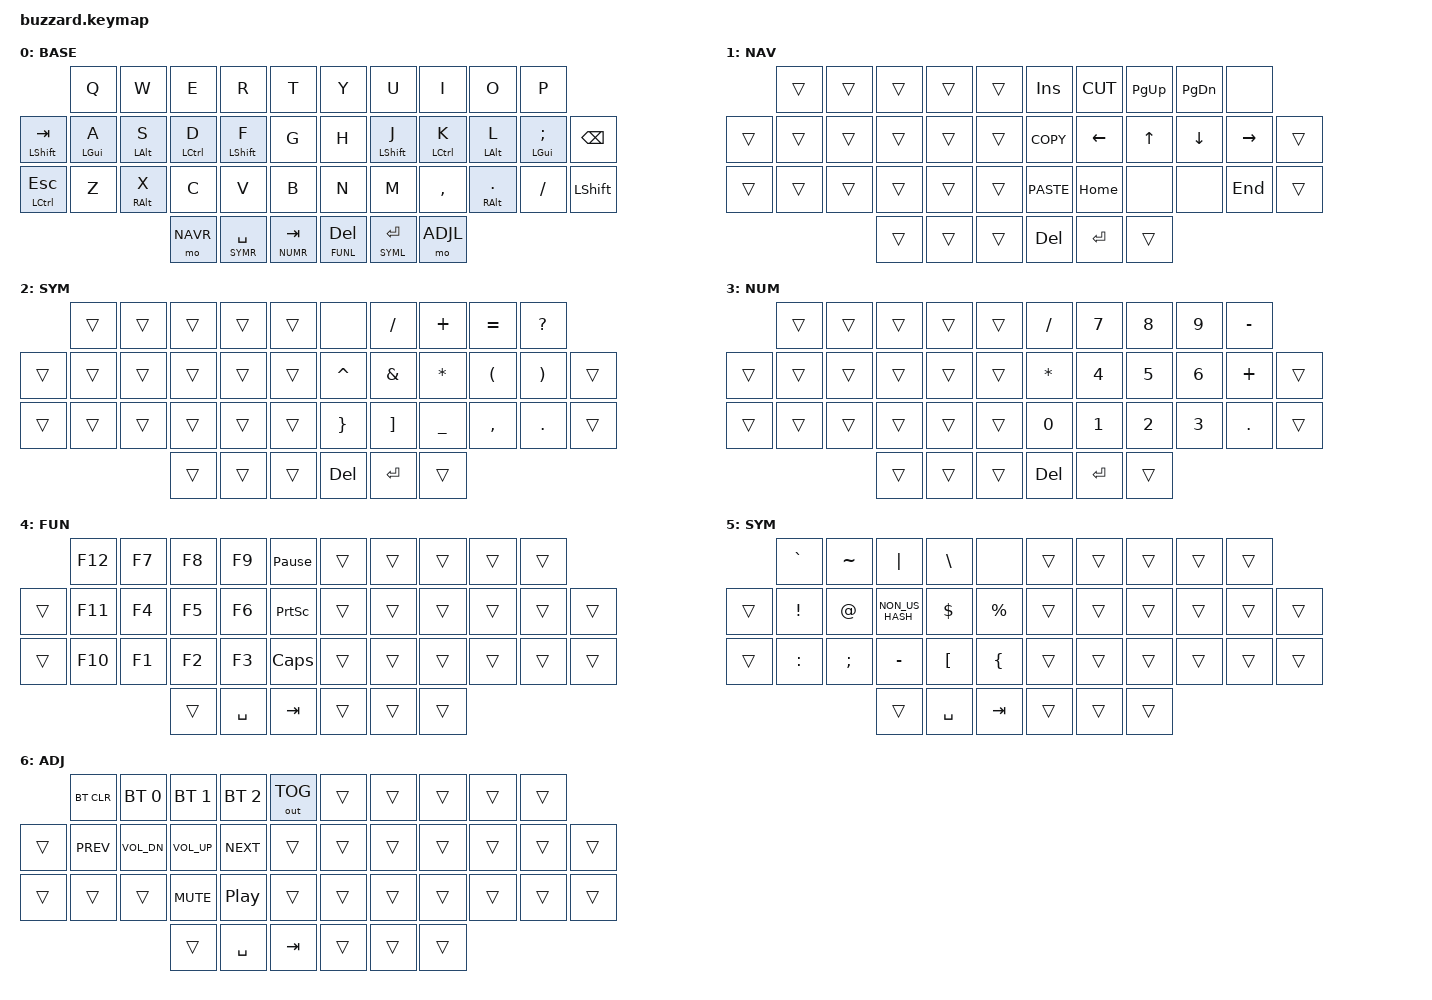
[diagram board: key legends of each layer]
/*
 * Copyright (c) 2021 The ZMK Contributors
 *
 * SPDX-License-Identifier: MIT
 */

#include <behaviors.dtsi>
#include <dt-bindings/zmk/keys.h>
#include <dt-bindings/zmk/bt.h>
#include <dt-bindings/zmk/ext_power.h>
#include <dt-bindings/zmk/outputs.h>

#define BASE   0
#define NAVR   1
#define SYMR   2
#define NUMR   3
#define FUNL   4
#define SYML   5
#define ADJL   6

/ {
	behaviors {
        hm: homerow_mods {
            compatible = "zmk,behavior-hold-tap";
            label = "HOMEROW_MODS";
            #binding-cells = <2>;
            tapping-term-ms = <280>;
            quick_tap_ms = <0>;
            flavor = "tap-preferred";
            bindings = <&kp>, <&kp>;
        };
    };
    keymap {
        compatible = "zmk,keymap";

        base {
            label = "BASE";
// /*
//  * Base Layer
//  *
//  *                 ,----------------------------------.                                               ,----------------------------------.
//  *                 |   Q  |   W  |   E  |   R  |   T  |                                               |   Y  |   U  |   I  |   O  |   P  |      
//  *                 |      |      |      |      |      |                                               |      |      |      |      |      |      
//  *          ,------+------+------+------+------+------|                                               |------+------+------+------+------+------.
//  *          |  TAB |   A  |   S  |   D  |   F  |   G  |                                               |   H  |   J  |   K  |   L  |  ; : | Bksp |
//  *          |  SFT |  GUI | LALT | LCTL | LSFT |      |                                               |      | LSFT | LCTL |  ALT |  GUI |      |
//  *          |------+------+------+------+------+------|                                               |------+------+------+------+------+------|
//  *          |  ESC |   Z  |   X  |   C  |   F  |   B  |                                               |   N  |   M  |  , < |  . > |  / ? |RShift|
//  *          |  CTL |      | RALT |      |      |      |                                               |      |      |      | RALT |      |      |
//  *          `----------------------------------+------+-------------.                   ,-------------+------+----------------------------------'
//  *                                             |      | Space| TAB  |                   |  DEL | Enter|      |
//  *                                             | NAVR | SYMR | NUMR |                   |  FUNL| SYML | ADJL |
//  *                                             `--------------------'                   `--------------------'
//  */
            bindings = <
                      &kp Q         &kp W        &kp E        &kp R          &kp T             &kp Y         &kp U        &kp I        &kp O        &kp P 
    &mt LSHIFT TAB    &hm LGUI A    &hm LALT S   &hm LCTRL D  &hm LSHFT F    &kp G             &kp H         &hm LSHFT J  &hm LCTRL K  &hm LALT L   &hm LGUI SEMI &kp BSPC
    &mt LCTRL  ESC    &kp Z         &hm RALT X   &kp C        &kp V          &kp B             &kp N         &kp M        &kp COMMA    &hm RALT DOT &kp FSLH      &kp LSHIFT
                                                 &mo NAVR     &lt SYMR SPACE &lt NUMR TAB      &lt FUNL DEL  &lt SYML RET &mo ADJL
            >;

        };

        navr {
            label = "NAV";
// /*
//  * Navigation Layer (Right)
//  *
//  *                 ,----------------------------------.                                               ,----------------------------------.
//  *                 |      |      |      |      |      |                                               |Insert| Cut  | PgUp | PgDn |      |      
//  *                 |      |      |      |      |      |                                               |      |      |      |      |      |      
//  *          ,------+------+------+------+------+------|                                               |------+------+------+------+------+------.
//  *          |      |      |      |      |      |      |                                               | Copy |   ←  |   ↑  |   ↓  |   →  |      |
//  *          |      |      |      |      |      |      |                                               |      |      |      |      |      |      |
//  *          |------+------+------+------+------+------|                                               |------+------+------+------+------+------|
//  *          |      |      |      |      |      |      |                                               | Paste| Home | WH_U | WH_D | End  |      |
//  *          |      |      |      |      |      |      |                                               |      |      |      |      |      |      |
//  *          `----------------------------------+------+-------------.                   ,-------------+------+----------------------------------'
//  *                                             |      |      |      |                   |  DEL | Enter|      |
//  *                                             |      |      |      |                   |      |      |      |
//  *                                             `--------------------'                   `--------------------'
//  */
            bindings = <
                      &trans    &trans    &trans    &trans    &trans            &kp INS     &kp K_CUT  &kp PG_UP  &kp PG_DN  &none
            &trans    &trans    &trans    &trans    &trans    &trans            &kp K_COPY  &kp LEFT   &kp UP     &kp DOWN   &kp RIGHT  &trans
            &trans    &trans    &trans    &trans    &trans    &trans            &kp K_PASTE &kp HOME   &none      &none      &kp END    &trans
                                          &trans    &trans    &trans            &kp DEL     &kp RET    &trans
            >;
        };

        symr {
            label = "SYM";
// /*
//  * Symbol Layer (Right)
//  *
//  *                 ,----------------------------------.                                               ,----------------------------------.
//  *                 |      |      |      |      |      |                                               |      |   /  |   +  |   =  |   ?  |      
//  *                 |      |      |      |      |      |                                               |      |      |      |      |      |      
//  *          ,------+------+------+------+------+------|                                               |------+------+------+------+------+------.
//  *          |      |      |      |      |      |      |                                               |   ^  |   &  |   *  |   (  |   )  |      |
//  *          |      |      |      |      |      |      |                                               |      |      |      |      |      |      |
//  *          |------+------+------+------+------+------|                                               |------+------+------+------+------+------|
//  *          |      |      |      |      |      |      |                                               |   }  |   ]  |   _  |   ,  |   .  |      |
//  *          |      |      |      |      |      |      |                                               |      |      |      |      |      |      |
//  *          `----------------------------------+------+-------------.                   ,-------------+------+----------------------------------'
//  *                                             |      |      |      |                   |  DEL | Enter|      |
//  *                                             |      |      |      |                   |      |      |      |
//  *                                             `--------------------'                   `--------------------'
//  */
            bindings = <
                      &trans    &trans    &trans    &trans    &trans            &none     &kp SLASH  &kp PLUS    &kp EQUAL &kp QMARK
            &trans    &trans    &trans    &trans    &trans    &trans            &kp CARET &kp AMPS   &kp ASTRK   &kp LPAR  &kp RPAR   &trans
            &trans    &trans    &trans    &trans    &trans    &trans            &kp RBRC  &kp RBKT   &kp UNDER   &kp COMMA &kp DOT    &trans
                                          &trans    &trans    &trans            &kp DEL   &kp RET    &trans
            >;
        };

        numr {
            label = "NUM";
// /*
//  * Number Layer (Right)
//  *
//  *                 ,----------------------------------.                                               ,----------------------------------.
//  *                 |      |      |      |      |      |                                               |   /  |   7  |   8  |   9  |  -   |      
//  *                 |      |      |      |      |      |                                               |      |      |      |      |      |      
//  *          ,------+------+------+------+------+------|                                               |------+------+------+------+------+------.
//  *          |      |      |      |      |      |      |                                               |   *  |   4  |   5  |  6   |  +   |      |
//  *          |      |      |      |      |      |      |                                               |      |      |      |      |      |      |
//  *          |------+------+------+------+------+------|                                               |------+------+------+------+------+------|
//  *          |      |      |      |      |      |      |                                               |   0  |   1  |   2  |  3   |  .   |      |
//  *          |      |      |      |      |      |      |                                               |      |      |      |      |      |      |
//  *          `----------------------------------+------+-------------.                   ,-------------+------+----------------------------------'
//  *                                             |      |      |      |                   |  DEL | Enter|      |
//  *                                             |      |      |      |                   |      |      |      |
//  *                                             `--------------------'                   `--------------------'
//  */
            bindings = <
                      &trans    &trans    &trans    &trans    &trans            &kp SLASH &kp N7    &kp N8    &kp N9    &kp MINUS
            &trans    &trans    &trans    &trans    &trans    &trans            &kp ASTRK &kp N4    &kp N5    &kp N6    &kp PLUS   &trans
            &trans    &trans    &trans    &trans    &trans    &trans            &kp N0    &kp N1    &kp N2    &kp N3    &kp DOT    &trans
                                          &trans    &trans    &trans            &kp DEL   &kp RET   &trans
            >;
        };

        funl {
            label = "FUN";
// /*
//  * Function Layer (Left)
//  *
//  *                 ,----------------------------------.                                               ,----------------------------------.
//  *                 |  F12 |  F7  |  F8  |  F9  | Pause|                                               |      |      |      |      |      |      
//  *                 |      |      |      |      |      |                                               |      |      |      |      |      |      
//  *          ,------+------+------+------+------+------|                                               |------+------+------+------+------+------.
//  *          |      |  F11 |  F4  |  F5  |  F6  | PrScr|                                               |      |      |      |      |      |      |
//  *          |      |      |      |      |      |      |                                               |      |      |      |      |      |      |
//  *          |------+------+------+------+------+------|                                               |------+------+------+------+------+------|
//  *          |      |  F10 |  F1  |  F2  |  F3  | CapsL|                                               |      |      |      |      |      |      |
//  *          |      |      |      |      |      |      |                                               |      |      |      |      |      |      |
//  *          `----------------------------------+------+-------------.                   ,-------------+------+----------------------------------'
//  *                                             |      | Space|  TAB |                   |      |      |      |
//  *                                             |      |      |      |                   |      |      |      |
//  *                                             `--------------------'                   `--------------------'
//  */
            bindings = <
                      &kp F12    &kp F7   &kp F8   &kp F9    &kp PAUSE_BREAK         &trans    &trans    &trans    &trans    &trans  
             &trans   &kp F11    &kp F4   &kp F5   &kp F6    &kp PSCRN               &trans    &trans    &trans    &trans    &trans    &trans
             &trans   &kp F10    &kp F1   &kp F2   &kp F3    &kp CLCK                &trans    &trans    &trans    &trans    &trans    &trans
                                          &trans   &kp SPACE &kp TAB                 &trans    &trans    &trans
            >;
        };

        syml {
            label = "SYM";
// /*
//  * Symbol Layer (Left)
//  *
//  *                 ,----------------------------------.                                               ,----------------------------------.
//  *                 |   `  |   ~  |   |  |   \  |      |                                               |      |      |      |      |      |      
//  *                 |      |      |      |      |      |                                               |      |      |      |      |      |      
//  *          ,------+------+------+------+------+------|                                               |------+------+------+------+------+------.
//  *          |      |   !  |   @  |   #  |   $  |   %  |                                               |      |      |      |      |      |      |
//  *          |      |      |      |      |      |      |                                               |      |      |      |      |      |      |
//  *          |------+------+------+------+------+------|                                               |------+------+------+------+------+------|
//  *          |      |   :  |   ;  |   -  |   [  |   {  |                                               |      |      |      |      |      |      |
//  *          |      |      |      |      |      |      |                                               |      |      |      |      |      |      |
//  *          `----------------------------------+------+-------------.                   ,-------------+------+----------------------------------'
//  *                                             |      | Space| TAB  |                   |      |      |      |
//  *                                             |      |      |      |                   |      |      |      |
//  *                                             `--------------------'                   `--------------------'
//  */
            bindings = <
                      &kp GRAVE  &kp TILDE &kp PIPE        &kp BSLH  &none                   &trans    &trans    &trans    &trans    &trans  
             &trans   &kp EXCL   &kp AT    &kp NON_US_HASH &kp DLLR  &kp PRCNT               &trans    &trans    &trans    &trans    &trans    &trans
             &trans   &kp COLON  &kp SEMI  &kp MINUS       &kp LBKT  &kp LBRC                &trans    &trans    &trans    &trans    &trans    &trans
                                           &trans          &kp SPACE &kp TAB                 &trans    &trans    &trans
            >;
        };

        adjl {
            label = "ADJ";
// /*
//  * Adjustment Layer (Left)
//  *
//  *                 ,----------------------------------.                                               ,----------------------------------.
//  *                 |BT_CLR| BT 0 | BT 1 | BT 2 | OutTg|                                               |      |      |      |      |      |      
//  *                 |      |      |      |      |      |                                               |      |      |      |      |      |      
//  *          ,------+------+------+------+------+------|                                               |------+------+------+------+------+------.
//  *          |      |M Prev| VolDn| VolUp|M Next|      |                                               |      |      |      |      |      |      |
//  *          |      |      |      |      |      |      |                                               |      |      |      |      |      |      |
//  *          |------+------+------+------+------+------|                                               |------+------+------+------+------+------|
//  *          |      |      |      | Mute | Play |      |                                               |      |      |      |      |      |      |
//  *          |      |      |      |      |      |      |                                               |      |      |      |      |      |      |
//  *          `----------------------------------+------+-------------.                   ,-------------+------+----------------------------------'
//  *                                             |      | Space| TAB  |                   |      |      |      |
//  *                                             |      |      |      |                   |      |      |      |
//  *                                             `--------------------'                   `--------------------'
//  */
            bindings = <
                      &bt BT_CLR &bt BT_SEL 0 &bt BT_SEL 1 &bt BT_SEL 2 &out OUT_TOG            &trans    &trans    &trans    &trans    &trans  
             &trans   &kp C_PREV &kp C_VOL_DN &kp C_VOL_UP &kp C_NEXT   &trans                  &trans    &trans    &trans    &trans    &trans    &trans
             &trans   &trans     &trans       &kp K_MUTE   &kp C_PP     &trans                  &trans    &trans    &trans    &trans    &trans    &trans
                                              &trans       &kp SPACE    &kp TAB                 &trans    &trans    &trans
            >;
        };
    };
};

// -------------------------------------------------------- TEMPLATE -------------------------------------------------------------------------------------
// /*
//  * Layer
//  *
//  *                 ,----------------------------------.                                               ,----------------------------------.
//  *                 |      |      |      |      |      |                                               |      |      |      |      |      |      
//  *                 |      |      |      |      |      |                                               |      |      |      |      |      |      
//  *          ,------+------+------+------+------+------|                                               |------+------+------+------+------+------.
//  *          |      |      |      |      |      |      |                                               |      |      |      |      |      |      |
//  *          |      |      |      |      |      |      |                                               |      |      |      |      |      |      |
//  *          |------+------+------+------+------+------|                                               |------+------+------+------+------+------|
//  *          |      |      |      |      |      |      |                                               |      |      |      |      |      |      |
//  *          |      |      |      |      |      |      |                                               |      |      |      |      |      |      |
//  *          `----------------------------------+------+-------------.                   ,-------------+------+----------------------------------'
//  *                                             |      |      |      |                   |      |      |      |
//  *                                             |      |      |      |                   |      |      |      |
//  *                                             `--------------------'                   `--------------------'
//  */
